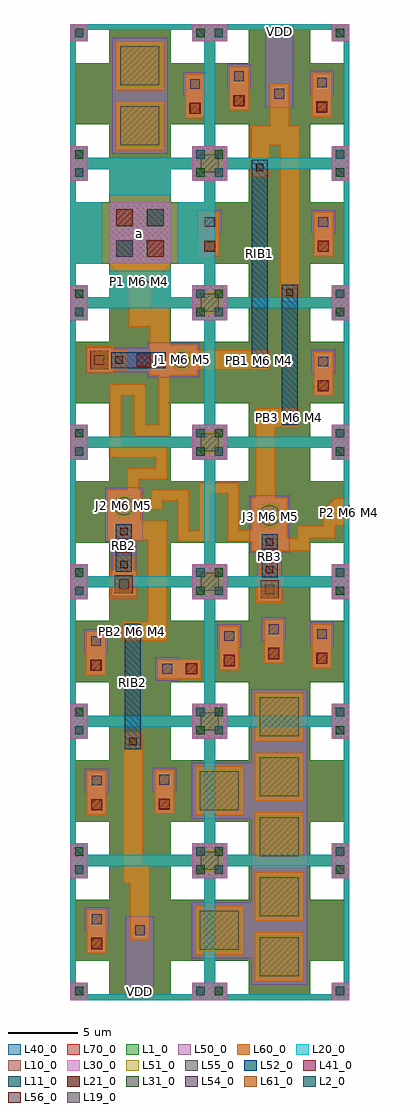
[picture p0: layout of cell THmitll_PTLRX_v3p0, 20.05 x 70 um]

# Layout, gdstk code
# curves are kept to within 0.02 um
from math import pi, radians
import gdstk
lib = gdstk.Library(unit=1e-6, precision=1e-09)
def R(c, l, rs):  # rectangles x0, y0, x1, y1
    for r in rs: c.add(gdstk.rectangle(r[:2], r[2:], *l))
def P(c, l, *ps):  # polygons
    for p in ps: c.add(gdstk.Polygon(p, *l))
L1_0 = (1, 0)
L2_0 = (2, 0)
L10_0 = (10, 0)
L11_0 = (11, 0)
L19_0 = (19, 0)
L20_0 = (20, 0)
L21_0 = (21, 0)
L30_0 = (30, 0)
L31_0 = (31, 0)
L40_0 = (40, 0)
L41_0 = (41, 0)
L50_0 = (50, 0)
L51_0 = (51, 0)
L52_0 = (52, 0)
L54_0 = (54, 0)
L55_0 = (55, 0)
L56_0 = (56, 0)
L60_0 = (60, 0)
L61_0 = (61, 0)
L70_0 = (70, 0)

ls_tr_m7 = lib.new_cell('ls_tr_M7')
P(ls_tr_m7, L70_0, [(0,0),(0,10),(1.25,10),(1.25,8.75),(0.4,8.75),(0.4,1.25),(1.25,1.25),(1.25,0.4),(2.8,0.4),(2.8,2.8),(0.4,2.8),(0.4,7.2),(2.8,7.2),(2.8,9.6),(1.25,9.6),(1.25,10),(7.2,10),(7.2,0.4),(8.75,0.4),(8.75,1.25),(9.6,1.25),(9.6,2.8),(7.2,2.8),(7.2,7.2),(9.6,7.2),(9.6,8.75),(8.75,8.75),(8.75,9.6),(7.2,9.6),(7.2,10),(10,10),(10,0)])

ls_tr_u_m4 = lib.new_cell('ls_tr_u_M4')
P(ls_tr_u_m4, L1_0, [(0,0),(0,10),(1.25,10),(1.25,8.75),(0.4,8.75),(0.4,1.25),(1.25,1.25),(1.25,0.4),(2.8,0.4),(2.8,2.8),(0.4,2.8),(0.4,7.2),(2.8,7.2),(2.8,9.6),(1.25,9.6),(1.25,10),(7.2,10),(7.2,0.4),(8.75,0.4),(8.75,1.25),(9.6,1.25),(9.6,2.8),(7.2,2.8),(7.2,7.2),(9.6,7.2),(9.6,8.75),(8.75,8.75),(8.75,9.6),(7.2,9.6),(7.2,10),(10,10),(10,0)])
R(ls_tr_u_m4, L2_0, [(9.05,0.35,9.65,0.95), (0.35,9.05,0.95,9.65)])
R(ls_tr_u_m4, L10_0, [(0,0,1.25,1.25), (8.75,0,10,1.25), (0,8.75,1.25,10), (8.75,8.75,10,10)])
R(ls_tr_u_m4, L11_0, [(0.35,0.35,0.95,0.95), (9.05,9.05,9.65,9.65)])
P(ls_tr_u_m4, L20_0, [(0,0),(0,10),(1.25,10),(1.25,8.75),(0.4,8.75),(0.4,1.25),(1.25,1.25),(1.25,0.4),(8.75,0.4),(8.75,1.25),(9.6,1.25),(9.6,8.75),(8.75,8.75),(8.75,9.6),(1.25,9.6),(1.25,10),(10,10),(10,0)])
R(ls_tr_u_m4, L21_0, [(9.05,0.35,9.65,0.95), (0.35,9.05,0.95,9.65)])
R(ls_tr_u_m4, L30_0, [(0,0,1.25,1.25), (8.75,0,10,1.25), (0,8.75,1.25,10), (8.75,8.75,10,10)])
R(ls_tr_u_m4, L31_0, [(0.35,0.35,0.95,0.95), (9.05,9.05,9.65,9.65)])
P(ls_tr_u_m4, L40_0, [(0,0),(0,10),(1.25,10),(1.25,8.75),(0.4,8.75),(0.4,1.25),(1.25,1.25),(1.25,0.4),(2.8,0.4),(2.8,2.8),(0.4,2.8),(0.4,7.2),(2.8,7.2),(2.8,9.6),(1.25,9.6),(1.25,10),(7.2,10),(7.2,0.4),(8.75,0.4),(8.75,1.25),(9.6,1.25),(9.6,2.8),(7.2,2.8),(7.2,7.2),(9.6,7.2),(9.6,8.75),(8.75,8.75),(8.75,9.6),(7.2,9.6),(7.2,10),(10,10),(10,0)])
ls_tr_u_m4.add(gdstk.Reference(ls_tr_m7, (0,0)))

ls_tr_ptl_conn = lib.new_cell('ls_tr_PTL_conn')
P(ls_tr_ptl_conn, L1_0, [(0,0),(0,10),(1.25,10),(1.25,8.75),(0.4,8.75),(0.4,1.25),(1.25,1.25),(1.25,0.4),(2.8,0.4),(2.8,2.8),(0.4,2.8),(0.4,7.2),(2.8,7.2),(2.8,9.6),(1.25,9.6),(1.25,10),(7.2,10),(7.2,0.4),(8.75,0.4),(8.75,1.25),(9.6,1.25),(9.6,2.8),(7.2,2.8),(7.2,7.2),(9.6,7.2),(9.6,8.75),(8.75,8.75),(8.75,9.6),(7.2,9.6),(7.2,10),(10,10),(10,0)])
R(ls_tr_ptl_conn, L2_0, [(9.05,0.35,9.65,0.95), (0.35,9.05,0.95,9.65)])
R(ls_tr_ptl_conn, L10_0, [(0,0,1.25,1.25), (8.75,0,10,1.25), (2.8,2.8,7.2,7.2), (0,8.75,1.25,10), (8.75,8.75,10,10)])
R(ls_tr_ptl_conn, L11_0, [(0.35,0.35,0.95,0.95), (3.3,3.3,4.5,4.5), (5.5,5.5,6.7,6.7), (9.05,9.05,9.65,9.65)])
R(ls_tr_ptl_conn, L20_0, [(2.8,2.8,7.2,7.2)])
P(ls_tr_ptl_conn, L20_0, [(0,0),(0,10),(7.2,10),(7.2,7.7),(2.8,7.7),(2.8,9.6),(1.25,9.6),(1.25,8.75),(0.4,8.75),(0.4,7.2),(2.3,7.2),(2.3,2.8),(0.4,2.8),(0.4,1.25),(1.25,1.25),(1.25,0.4),(2.8,0.4),(2.8,2.3),(7.2,2.3),(7.2,0.4),(8.75,0.4),(8.75,1.25),(9.6,1.25),(9.6,2.8),(7.7,2.8),(7.7,7.2),(9.6,7.2),(9.6,8.75),(8.75,8.75),(8.75,9.6),(7.2,9.6),(7.2,10),(10,10),(10,0)])
R(ls_tr_ptl_conn, L21_0, [(9.05,0.35,9.65,0.95), (5.5,3.3,6.7,4.5), (3.3,5.5,4.5,6.7), (0.35,9.05,0.95,9.65)])
R(ls_tr_ptl_conn, L30_0, [(0,0,1.25,1.25), (8.75,0,10,1.25), (2.8,2.8,7.2,7.2), (0,8.75,1.25,10), (8.75,8.75,10,10)])
R(ls_tr_ptl_conn, L31_0, [(0.35,0.35,0.95,0.95), (3.3,3.3,4.5,4.5), (5.5,5.5,6.7,6.7), (9.05,9.05,9.65,9.65)])
R(ls_tr_ptl_conn, L40_0, [(2.8,2.8,7.2,7.2)])
P(ls_tr_ptl_conn, L40_0, [(0,0),(0,10),(7.2,10),(7.2,7.7),(2.8,7.7),(2.8,9.6),(1.25,9.6),(1.25,8.75),(0.4,8.75),(0.4,7.2),(2.3,7.2),(2.3,2.8),(0.4,2.8),(0.4,1.25),(1.25,1.25),(1.25,0.4),(2.8,0.4),(2.8,2.3),(7.2,2.3),(7.2,0.4),(8.75,0.4),(8.75,1.25),(9.6,1.25),(9.6,2.8),(7.7,2.8),(7.7,7.2),(9.6,7.2),(9.6,8.75),(8.75,8.75),(8.75,9.6),(7.2,9.6),(7.2,10),(10,10),(10,0)])
R(ls_tr_ptl_conn, L41_0, [(5.5,3.3,6.7,4.5), (3.3,5.5,4.5,6.7)])
R(ls_tr_ptl_conn, L50_0, [(2.8,2.8,7.2,7.2)])
R(ls_tr_ptl_conn, L54_0, [(3.3,3.3,4.5,4.5), (5.5,5.5,6.7,6.7)])
R(ls_tr_ptl_conn, L60_0, [(2.8,2.8,7.2,7.2)])
P(ls_tr_ptl_conn, L70_0, [(0,0),(0,10),(1.25,10),(1.25,8.75),(0.4,8.75),(0.4,1.25),(1.25,1.25),(1.25,0.4),(2.8,0.4),(2.8,2.8),(0.4,2.8),(0.4,7.2),(2.8,7.2),(2.8,9.6),(1.25,9.6),(1.25,10),(7.2,10),(7.2,0.4),(8.75,0.4),(8.75,1.25),(9.6,1.25),(9.6,2.8),(7.2,2.8),(7.2,7.2),(9.6,7.2),(9.6,8.75),(8.75,8.75),(8.75,9.6),(7.2,9.6),(7.2,10),(10,10),(10,0)])

ls_conn_m5m6 = lib.new_cell('ls_conn_M5M6')
R(ls_conn_m5m6, L50_0, [(0,0,1.7,1.7)])
R(ls_conn_m5m6, L54_0, [(0.5,0.5,1.2,1.2)])
R(ls_conn_m5m6, L60_0, [(0.15,0.15,1.55,1.55)])

ls_conn_m5m6m7 = lib.new_cell('ls_conn_M5M6M7')
R(ls_conn_m5m6m7, L60_0, [(-0.65,-0.65,1.35,1.35)])
R(ls_conn_m5m6m7, L61_0, [(-0.3,-0.3,1,1)])
R(ls_conn_m5m6m7, L70_0, [(-0.65,-0.65,1.35,1.35)])

th_jj_250_sg = lib.new_cell('th_jj_250_sg')
R(th_jj_250_sg, L41_0, [(-0.5,2.4,0.5,3.4)])
R(th_jj_250_sg, L50_0, [(-1.425,-1.425,1.425,2.625), (-0.875,2.625,0.875,6.175)])
P(th_jj_250_sg, L51_0, [(0,-0.91),(-0.18,-0.895),(-0.35,-0.84),(-0.645,-0.645),(-0.84,-0.35),(-0.91,0),(-0.895,0.18),(-0.84,0.35),(-0.645,0.645),(-0.35,0.84),(-0.18,0.895),(0,0.91),(0.18,0.895),(0.35,0.84),(0.645,0.645),(0.84,0.35),(0.895,0.18),(0.91,0),(0.84,-0.35),(0.645,-0.645),(0.35,-0.84),(0.18,-0.895)])
R(th_jj_250_sg, L52_0, [(-0.575,1.35,0.575,4.425)])
R(th_jj_250_sg, L54_0, [(-0.35,4.95,0.35,5.65)])
P(th_jj_250_sg, L55_0, [(0,-0.76),(-0.15,-0.75),(-0.29,-0.7),(-0.54,-0.54),(-0.7,-0.29),(-0.75,-0.15),(-0.76,0),(-0.75,0.15),(-0.7,0.29),(-0.54,0.54),(-0.29,0.7),(-0.15,0.75),(0,0.76),(0.15,0.75),(0.29,0.7),(0.54,0.54),(0.7,0.29),(0.75,0.15),(0.76,0),(0.75,-0.15),(0.7,-0.29),(0.54,-0.54),(0.29,-0.7),(0.15,-0.75)])
R(th_jj_250_sg, L56_0, [(-0.26,1.64,0.26,2.16), (-0.26,3.63,0.26,4.15)])
R(th_jj_250_sg, L60_0, [(-1.275,-1.275,1.275,2.525), (-0.725,3.25,0.725,6.025)])
th_jj_250_sg.add(gdstk.Reference(ls_conn_m5m6m7, (0.35,5.65), rotation=pi))

th_jj_160_sg = lib.new_cell('th_jj_160_sg')
R(th_jj_160_sg, L41_0, [(-0.5,2.225,0.5,3.225)])
R(th_jj_160_sg, L50_0, [(-1.25,-1.25,1.25,2.425), (-0.875,2.425,0.875,6.8)])
P(th_jj_160_sg, L51_0, [(0,-0.735),(-0.28,-0.68),(-0.52,-0.52),(-0.68,-0.28),(-0.735,0),(-0.68,0.28),(-0.52,0.52),(-0.28,0.68),(0,0.735),(0.28,0.68),(0.52,0.52),(0.68,0.28),(0.735,0),(0.68,-0.28),(0.52,-0.52),(0.28,-0.68)])
R(th_jj_160_sg, L52_0, [(-0.575,1.15,0.575,5.05)])
R(th_jj_160_sg, L54_0, [(-0.35,5.575,0.35,6.275)])
P(th_jj_160_sg, L55_0, [(0,-0.58),(-0.22,-0.54),(-0.41,-0.41),(-0.54,-0.22),(-0.58,0),(-0.54,0.23),(-0.41,0.42),(-0.22,0.54),(0,0.59),(0.22,0.54),(0.41,0.42),(0.54,0.23),(0.58,0),(0.54,-0.22),(0.41,-0.41),(0.22,-0.54)])
R(th_jj_160_sg, L56_0, [(-0.26,1.43,0.26,1.95), (-0.26,4.25,0.26,4.77)])
R(th_jj_160_sg, L60_0, [(-1.1,-1.1,1.1,2.325), (-0.725,3.875,0.725,6.65)])
th_jj_160_sg.add(gdstk.Reference(ls_conn_m5m6m7, (0.35,6.275), rotation=pi))

th_jj_200_sg = lib.new_cell('th_jj_200_sg')
R(th_jj_200_sg, L41_0, [(-0.5,2.325,0.5,3.325)])
R(th_jj_200_sg, L50_0, [(-1.35,-1.35,1.35,2.525), (-0.875,2.525,0.875,6.45)])
P(th_jj_200_sg, L51_0, [(0,-0.815),(-0.315,-0.755),(-0.58,-0.575),(-0.755,-0.31),(-0.815,0),(-0.755,0.315),(-0.58,0.58),(-0.315,0.76),(0,0.82),(0.315,0.76),(0.58,0.58),(0.755,0.315),(0.815,0),(0.755,-0.31),(0.58,-0.575),(0.315,-0.755)])
R(th_jj_200_sg, L52_0, [(-0.575,1.275,0.575,4.7)])
R(th_jj_200_sg, L54_0, [(-0.35,5.225,0.35,5.925)])
P(th_jj_200_sg, L55_0, [(0,-0.67),(-0.27,-0.62),(-0.37,-0.56),(-0.57,-0.37),(-0.67,-0.13),(-0.67,0.13),(-0.57,0.37),(-0.27,0.61),(0,0.67),(0.27,0.61),(0.47,0.47),(0.57,0.37),(0.67,0.13),(0.67,-0.13),(0.57,-0.37),(0.27,-0.62)])
R(th_jj_200_sg, L56_0, [(-0.26,1.54,0.26,2.06), (-0.26,3.9,0.26,4.42)])
R(th_jj_200_sg, L60_0, [(-1.2,-1.2,1.2,2.425), (-0.725,3.525,0.725,6.3)])
th_jj_200_sg.add(gdstk.Reference(ls_conn_m5m6m7, (0.35,5.925), rotation=pi))

th_ib_112 = lib.new_cell('th_ib_112')
R(th_ib_112, L52_0, [(-0.575,0,0.575,14.875)])
R(th_ib_112, L56_0, [(-0.26,0.29,0.26,0.81), (-0.26,14.07,0.26,14.59)])
R(th_ib_112, L60_0, [(-0.625,-0.1,0.625,1.175), (-0.625,13.7,0.625,14.975)])

th_ib_200 = lib.new_cell('th_ib_200')
R(th_ib_200, L52_0, [(-0.575,0,0.575,9)])
R(th_ib_200, L56_0, [(-0.26,0.29,0.26,0.81), (-0.26,8.2,0.26,8.72)])
R(th_ib_200, L60_0, [(-0.625,-0.1,0.625,1.175), (-0.625,7.825,0.625,9.1)])

th_ib_175 = lib.new_cell('th_ib_175')
R(th_ib_175, L52_0, [(-0.575,0,0.575,10.05)])
R(th_ib_175, L56_0, [(-0.26,0.29,0.26,0.81), (-0.26,9.26,0.26,9.78)])
R(th_ib_175, L60_0, [(-0.625,-0.1,0.625,1.175), (-0.625,8.9,0.625,10.15)])

ls_fakejj_3umx3um = lib.new_cell('ls_FakeJJ_3umx3um')
R(ls_fakejj_3umx3um, L40_0, [(-2,-2,2,2)])
R(ls_fakejj_3umx3um, L50_0, [(-2,-2,2,2)])
R(ls_fakejj_3umx3um, L51_0, [(-1.5,-1.5,1.5,1.5)])
R(ls_fakejj_3umx3um, L55_0, [(-1.4,-1.4,1.4,1.4)])
R(ls_fakejj_3umx3um, L60_0, [(-1.75,-1.75,1.75,1.75)])

ls_conn_m4m5m6m7 = lib.new_cell('ls_conn_M4M5M6M7')
R(ls_conn_m4m5m6m7, L40_0, [(0,0,1.4,1.4)])
R(ls_conn_m4m5m6m7, L41_0, [(0.3,0.3,1.1,1.1)])
P(ls_conn_m4m5m6m7, L50_0, [(1.6,-0.15),(1.6,0),(0,0),(0,1.4),(1.6,1.4),(1.6,1.55),(3.3,1.55),(3.3,-0.15)])
R(ls_conn_m4m5m6m7, L54_0, [(2.1,0.35,2.8,1.05)])
R(ls_conn_m4m5m6m7, L60_0, [(0,0,3.15,1.4)])
R(ls_conn_m4m5m6m7, L61_0, [(0.35,0.35,1.05,1.05)])
R(ls_conn_m4m5m6m7, L70_0, [(0,0,1.4,1.4)])

ls_fakejj_1p5x1p5um = lib.new_cell('ls_FakeJJ_1p5x1p5um')
R(ls_fakejj_1p5x1p5um, L40_0, [(-1.25,-1.25,1.25,1.25)])
R(ls_fakejj_1p5x1p5um, L50_0, [(-1.25,-1.25,1.25,1.25)])
R(ls_fakejj_1p5x1p5um, L51_0, [(-0.75,-0.75,0.75,0.75)])
R(ls_fakejj_1p5x1p5um, L55_0, [(-0.65,-0.65,0.65,0.65)])
R(ls_fakejj_1p5x1p5um, L60_0, [(-1,-1,1,1)])

thmitll_ptlrx_v3p0 = lib.new_cell('THmitll_PTLRX_v3p0')
R(thmitll_ptlrx_v3p0, L19_0, [(4.25,26.2,4.8,26.7), (15.5,41.5,16.05,42), (13.35,45.65,13.9,46.2)])
R(thmitll_ptlrx_v3p0, L50_0, [(13,1.1,17,22.3), (8.7,3,13.9,7), (8.7,13,13.9,17), (3,60.7,7,69)])
P(thmitll_ptlrx_v3p0, L60_0, [(18.1,35.1),(19,36),(19,35.1)],
  [(5,50.6),(2.8,52.8),(7.2,52.8)])
thmitll_ptlrx_v3p0.add(gdstk.FlexPath([(15.1,32.675),(16.725,32.675),(16.725,33.55),(18.55,33.55),(18.55,35.1)], 0.9, ends="flush", simple_path=True, layer=60, datatype=0))  # L60_0
thmitll_ptlrx_v3p0.add(gdstk.FlexPath([(13.1,33.3),(11.7,33.3),(11.7,36.7),(9.65,36.7),(9.65,33.25),(8.1,33.25),(8.1,36.2),(6.2,36.2),(6.2,35.55),(4.85,35.55)], 0.8, ends="flush", simple_path=True, layer=60, datatype=0))  # L60_0
thmitll_ptlrx_v3p0.add(gdstk.FlexPath([(16.45,41.75),(14,41.75),(14,35.8)], 1.4, ends="flush", simple_path=True, layer=60, datatype=0))  # L60_0
thmitll_ptlrx_v3p0.add(gdstk.FlexPath([(6.75,44.85),(6.75,40.85),(5,40.85),(5,43.75),(3.25,43.75),(3.25,39.3),(6.55,39.3),(6.55,37.75),(4.5,37.75),(4.5,36.5)], 0.8, ends="flush", simple_path=True, layer=60, datatype=0))  # L60_0
thmitll_ptlrx_v3p0.add(gdstk.FlexPath([(20,35),(19,35)], 2, ends="flush", simple_path=True, layer=60, datatype=0))  # L60_0
thmitll_ptlrx_v3p0.add(gdstk.FlexPath([(5,52.8),(5,49)], 1.6, ends="flush", simple_path=True, layer=60, datatype=0))  # L60_0
thmitll_ptlrx_v3p0.add(gdstk.FlexPath([(4.2,49),(6.45,49),(6.45,46.95)], 1.4, ends="flush", simple_path=True, layer=60, datatype=0))  # L60_0
thmitll_ptlrx_v3p0.add(gdstk.FlexPath([(14.3,45.9),(9.05,45.9)], 1.4, ends="flush", simple_path=True, layer=60, datatype=0))  # L60_0
thmitll_ptlrx_v3p0.add(gdstk.FlexPath([(15,65.7),(15,62)], 1.4, ends="flush", simple_path=True, layer=60, datatype=0))  # L60_0
thmitll_ptlrx_v3p0.add(gdstk.FlexPath([(15,62),(13.6,62),(13.6,59.05)], 1.4, ends="flush", simple_path=True, layer=60, datatype=0))  # L60_0
thmitll_ptlrx_v3p0.add(gdstk.FlexPath([(3.75,26.45),(6.25,26.45),(6.25,33.675),(4.9,33.675)], 1.4, ends="flush", simple_path=True, layer=60, datatype=0))  # L60_0
thmitll_ptlrx_v3p0.add(gdstk.FlexPath([(5,4.3),(5,9.05),(4.5,9.05),(4.5,19.25)], 1.4, ends="flush", simple_path=True, layer=60, datatype=0))  # L60_0
thmitll_ptlrx_v3p0.add(gdstk.FlexPath([(15.75,50.05),(15.75,62),(15,62)], 1.4, ends="flush", simple_path=True, layer=60, datatype=0))  # L60_0
thmitll_ptlrx_v3p0.add(gdstk.FlexPath([(15,70),(15,64)], 2, ends="flush", simple_path=True, layer=50, datatype=0))  # L50_0
thmitll_ptlrx_v3p0.add(gdstk.FlexPath([(5,0),(5,6)], 2, ends="flush", simple_path=True, layer=50, datatype=0))  # L50_0
thmitll_ptlrx_v3p0.add(gdstk.FlexPath([(20,34.5),(20,35.5)], 0.1, ends="flush", simple_path=True, layer=19, datatype=0))  # L19_0
thmitll_ptlrx_v3p0.add(gdstk.FlexPath([(4.2,51.5),(5.8,51.5)], 0.1, ends="flush", simple_path=True, layer=19, datatype=0))  # L19_0
r = gdstk.Reference(ls_tr_u_m4, (10,0)); r.repetition = gdstk.Repetition(1, 7, v1=(0,0), v2=(0,10)); thmitll_ptlrx_v3p0.add(r)
r = gdstk.Reference(ls_tr_u_m4, (0,0)); r.repetition = gdstk.Repetition(1, 5, v1=(0,0), v2=(0,10)); thmitll_ptlrx_v3p0.add(r)
thmitll_ptlrx_v3p0.add(gdstk.Reference(ls_tr_u_m4, (0,60)))
thmitll_ptlrx_v3p0.add(gdstk.Reference(ls_tr_ptl_conn, (10,60), rotation=pi))
thmitll_ptlrx_v3p0.add(gdstk.Reference(ls_conn_m5m6, (5.85,5.85), rotation=pi))
thmitll_ptlrx_v3p0.add(gdstk.Reference(ls_conn_m5m6, (15.85,65.85), rotation=pi))
thmitll_ptlrx_v3p0.add(gdstk.Reference(th_jj_250_sg, (14.3,34.75), rotation=pi))
thmitll_ptlrx_v3p0.add(gdstk.Reference(th_jj_160_sg, (8,45.9), rotation=pi/2))
thmitll_ptlrx_v3p0.add(gdstk.Reference(th_jj_200_sg, (3.85,35.4), rotation=pi))
thmitll_ptlrx_v3p0.add(gdstk.Reference(th_ib_112, (13.6,60.25), rotation=pi))
thmitll_ptlrx_v3p0.add(gdstk.Reference(th_ib_200, (4.5,27), rotation=pi))
thmitll_ptlrx_v3p0.add(gdstk.Reference(th_ib_175, (15.75,51.3), rotation=pi))
r = gdstk.Reference(ls_fakejj_3umx3um, (5,62.7), rotation=pi/2); r.repetition = gdstk.Repetition(2, 1, v1=(0,4.3), v2=(0,0)); thmitll_ptlrx_v3p0.add(r)
thmitll_ptlrx_v3p0.add(gdstk.Reference(ls_conn_m4m5m6m7, (12.8,63.8), rotation=pi/2))
thmitll_ptlrx_v3p0.add(gdstk.Reference(ls_conn_m4m5m6m7, (9.65,63.25), rotation=pi/2))
thmitll_ptlrx_v3p0.add(gdstk.Reference(ls_conn_m4m5m6m7, (18.75,63.35), rotation=pi/2))
thmitll_ptlrx_v3p0.add(gdstk.Reference(ls_conn_m4m5m6m7, (18.85,53.35), rotation=pi/2))
thmitll_ptlrx_v3p0.add(gdstk.Reference(ls_conn_m4m5m6m7, (10.7,53.35), rotation=pi/2))
thmitll_ptlrx_v3p0.add(gdstk.Reference(ls_conn_m4m5m6m7, (18.85,43.35), rotation=pi/2))
thmitll_ptlrx_v3p0.add(gdstk.Reference(ls_conn_m4m5m6m7, (2.55,23.3), rotation=pi/2))
thmitll_ptlrx_v3p0.add(gdstk.Reference(ls_conn_m4m5m6m7, (2.6,13.3), rotation=pi/2))
thmitll_ptlrx_v3p0.add(gdstk.Reference(ls_conn_m4m5m6m7, (2.6,3.35), rotation=pi/2))
r = gdstk.Reference(ls_fakejj_3umx3um, (15,3.1), rotation=pi/2); r.repetition = gdstk.Repetition(5, 1, v1=(0,4.3), v2=(0,0)); thmitll_ptlrx_v3p0.add(r)
thmitll_ptlrx_v3p0.add(gdstk.Reference(ls_fakejj_3umx3um, (10.7,15), rotation=pi/2))
thmitll_ptlrx_v3p0.add(gdstk.Reference(ls_fakejj_3umx3um, (10.7,5), rotation=pi/2))
thmitll_ptlrx_v3p0.add(gdstk.Reference(ls_conn_m4m5m6m7, (7.45,13.35), rotation=pi/2))
thmitll_ptlrx_v3p0.add(gdstk.Reference(ls_conn_m4m5m6m7, (18.75,23.8), rotation=pi/2))
thmitll_ptlrx_v3p0.add(gdstk.Reference(ls_conn_m4m5m6m7, (9.4,24.45), rotation=pi))
thmitll_ptlrx_v3p0.add(gdstk.Reference(ls_conn_m4m5m6m7, (12.1,23.65), rotation=pi/2))
thmitll_ptlrx_v3p0.add(gdstk.Reference(ls_conn_m4m5m6m7, (15.3,24.15), rotation=pi/2))
thmitll_ptlrx_v3p0.add(gdstk.Reference(ls_fakejj_1p5x1p5um, (10,60), rotation=pi/2))
thmitll_ptlrx_v3p0.add(gdstk.Reference(ls_fakejj_1p5x1p5um, (10,50), rotation=pi/2))
thmitll_ptlrx_v3p0.add(gdstk.Reference(ls_fakejj_1p5x1p5um, (10,40), rotation=pi/2))
thmitll_ptlrx_v3p0.add(gdstk.Reference(ls_fakejj_1p5x1p5um, (10,30), rotation=pi/2))
thmitll_ptlrx_v3p0.add(gdstk.Reference(ls_fakejj_1p5x1p5um, (10,20), rotation=pi/2))
thmitll_ptlrx_v3p0.add(gdstk.Reference(ls_fakejj_1p5x1p5um, (10,10), rotation=pi/2))
thmitll_ptlrx_v3p0.add(gdstk.Label('VDD', (15,69.45), layer=50, texttype=0))
thmitll_ptlrx_v3p0.add(gdstk.Label('VDD', (5,0.6), layer=50, texttype=0))
thmitll_ptlrx_v3p0.add(gdstk.Label('GND', (13.45,69.45), layer=40, texttype=0))
thmitll_ptlrx_v3p0.add(gdstk.Label('J3 M6 M5', (14.35,34.7), layer=182, texttype=0))
thmitll_ptlrx_v3p0.add(gdstk.Label('P1 M6 M4', (5,51.5), layer=182, texttype=0))
thmitll_ptlrx_v3p0.add(gdstk.Label('PB1 M6 M4', (13.6,45.9), layer=182, texttype=0))
thmitll_ptlrx_v3p0.add(gdstk.Label('PB3 M6 M4', (15.75,41.75), layer=182, texttype=0))
thmitll_ptlrx_v3p0.add(gdstk.Label('J1 M6 M5', (8.05,45.95), layer=182, texttype=0))
thmitll_ptlrx_v3p0.add(gdstk.Label('J2 M6 M5', (3.85,35.45), layer=182, texttype=0))
thmitll_ptlrx_v3p0.add(gdstk.Label('P2 M6 M4', (20,35), layer=182, texttype=0))
thmitll_ptlrx_v3p0.add(gdstk.Label('PB2 M6 M4', (4.45,26.45), layer=182, texttype=0))
thmitll_ptlrx_v3p0.add(gdstk.Label('RB3', (14.3,31.8), layer=52, texttype=11))
thmitll_ptlrx_v3p0.add(gdstk.Label('RIB1', (13.6,53.55), layer=52, texttype=11))
thmitll_ptlrx_v3p0.add(gdstk.Label('RIB3', (15.8,46.65), layer=52, texttype=11))
thmitll_ptlrx_v3p0.add(gdstk.Label('RIB2', (4.45,22.8), layer=52, texttype=11))
thmitll_ptlrx_v3p0.add(gdstk.Label('RB1', (5.05,45.95), layer=52, texttype=11))
thmitll_ptlrx_v3p0.add(gdstk.Label('RB2', (3.8,32.6), layer=52, texttype=11))
thmitll_ptlrx_v3p0.add(gdstk.Label('a', (5,55), layer=60, texttype=5))
thmitll_ptlrx_v3p0.add(gdstk.Label('q', (20,35), layer=60, texttype=5))

lib.write_gds('THmitll_PTLRX_v3p0.gds')
